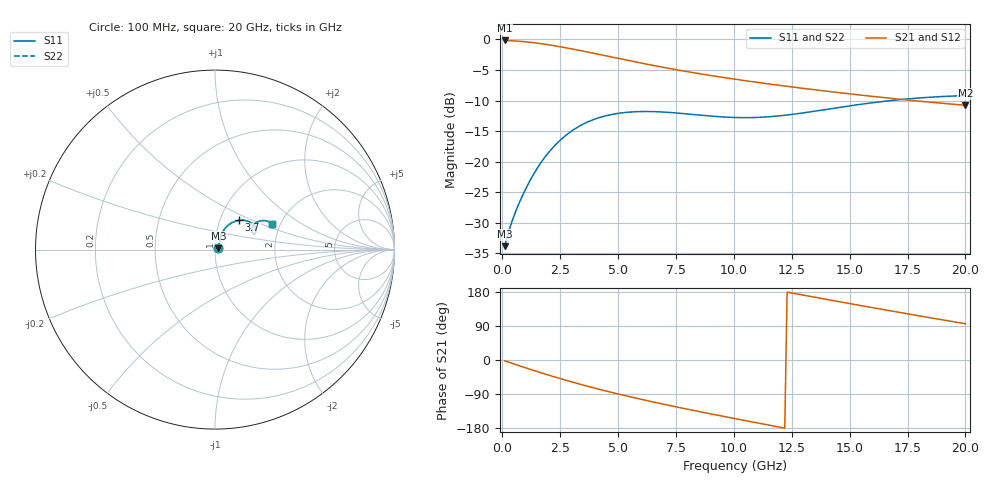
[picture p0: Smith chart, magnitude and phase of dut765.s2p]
! Touchstone file exported from HFSS 2024.1.0
!  File:  C:/UserFiles/LocalFiles/RDL_TSV_Batchsim/temp_RDL_TSV_765_1779901467.aedt
!  Generated:  01:22:05 AM May 28, 2026
!  Design:  RDL_TSV
!  Project:  temp_RDL_TSV_765_1779901467
!  Setup:  Setup1
!  Solution:  Sweep
! Variables:
!  dtsv = 8.03um
!  hbump = 3um
!  htsv = 62.93um
!  ldown = 508.15um
!  lrdl = 675.97um
!  p = 40
!  p1 = 45.93um
!  rhole = 10um
!  subl = 4228.33um
!  t = 450um
!  tdown = 2.69um
!  trdl = 4.97um
!  viad = 10um
!  wdown = 22.02um
!  wrdl = 20.86um
!  xbump = 18um
# GHz S MA R 50.000000
! Terminal data exported
! Port[1] = TM1_1_T1
! Port[2] = TM1_4_T1
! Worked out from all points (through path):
!   200 points, 100 MHz to 20 GHz, reference 50 ohm
!   highest |S21| = -0.17 dB at 100 MHz (marker M1); lowest = -10.8 dB at 20 GHz (marker M2)
!   group delay of S21, straight-line fit = 35.1 ps
!   lowest |S11| = -33.8 dB at 100 MHz (marker M3), VSWR 1.04, Z = 52 + j0.667 ohm
!   |S11| at or under -10 dB: start of sweep to 16.78 GHz
!   |S22| runs from -33.8 to -9.2 dB; largest |S21 - S12| = 5.3e-14
!   S11 on the Smith chart (normalised r, x): 100 MHz: 1.04, +0.01; 3.7 GHz: 1.23, +0.42; 20 GHz: 1.80, +0.58
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0.1  0.02038 18.3  0.9805 -2.1  0.9805 -2.1  0.02038 18.3
! Gamma 0 0 0 0
! Port Impedance 50 0 50 0
0.4  0.03172 44.9  0.9747 -8.4  0.9747 -8.4  0.03172 44.9
0.7  0.0446 56.5  0.9667 -14.5  0.9667 -14.5  0.04461 56.5
1.1  0.06479 64.2  0.9519 -22.5  0.9519 -22.5  0.06479 64.2
1.5  0.0879 66.7  0.9326 -30.4  0.9326 -30.4  0.08788 66.6
2  0.1189 65.7  0.9037 -39.9  0.9037 -39.9  0.1189 65.6
2.5  0.1499 62.3  0.8712 -49.1  0.8712 -49.1  0.1498 62.2
3  0.1785 57.6  0.8367 -57.9  0.8367 -57.9  0.1783 57.5
3.5  0.2032 52.5  0.8014 -66.3  0.8014 -66.3  0.2029 52.4
3.7  0.2117 50.4  0.7873 -69.6  0.7873 -69.6  0.2114 50.3
4.4  0.2355 43.4  0.7391 -80.7  0.7391 -80.7  0.2351 43.3
5.2  0.2513 36.3  0.6874 -92.6  0.6874 -92.6  0.2509 36.2
6  0.2571 30.4  0.6403 -103.8  0.6403 -103.8  0.2566 30.4
6.8  0.2556 26.1  0.5984 -114.6  0.5984 -114.6  0.255 26.0
8.4  0.2417 22.1  0.5286 -134.9  0.5286 -134.9  0.2411 22.1
10.1  0.2297 24.1  0.471 -155.3  0.471 -155.3  0.2291 24.1
11.7  0.2345 28.9  0.4276 -174.0  0.4276 -174.0  0.234 28.9
13.4  0.2572 32.6  0.3893 166.7  0.3893 166.7  0.2569 32.6
15  0.2861 33.0  0.3587 148.9  0.3587 148.9  0.2859 33.0
16.7  0.315 31.0  0.3309 130.4  0.3309 130.4  0.3147 30.9
18.3  0.3351 27.8  0.3089 113.4  0.3089 113.4  0.3348 27.8
20  0.3469 24.2  0.2894 95.6  0.2894 95.6  0.3466 24.1
